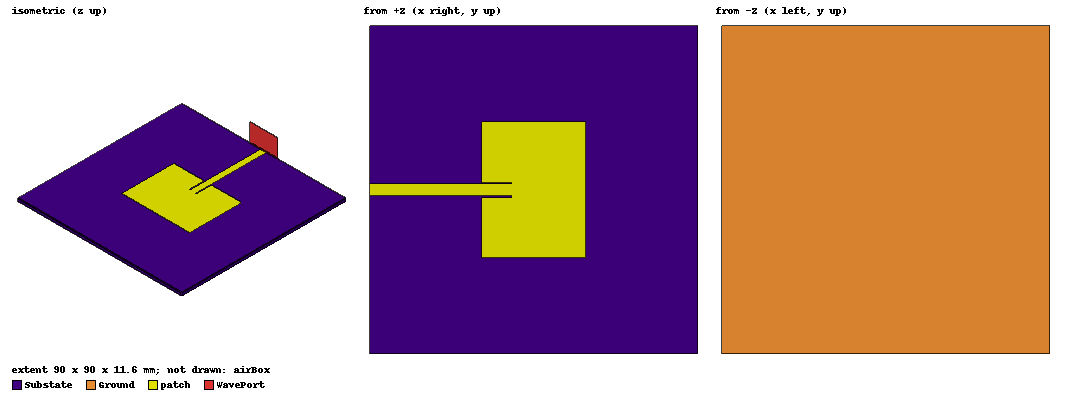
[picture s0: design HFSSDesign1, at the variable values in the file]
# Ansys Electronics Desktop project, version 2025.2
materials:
  vacuum: permittivity=1
  FR4_epoxy: permittivity=4.4 dielectric_loss_tangent=0.02
  air: permittivity=1.0006 permeability=1.0000004

design HFSSDesign1 (HFSS, HFSS Modal Network, model units mm)
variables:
  er = 4.4
  h = 1.6mm
  subX = 90mm
  subY = 90mm
  Wp = 37.3mm
  Lp = 28.67mm
  Wf = 3.1mm
  inset = 8.5mm
  gNotch = 0.5mm
  ov = 0.2mm
  airSide = 20mm
  airTop = 20mm
  airBottom = 5mm
  portAir = 10mm
  portW = Wf+12mm
  portH = h+portAir
  airRight = 20mm
  f0 = 2.45GHz
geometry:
  Substate [FR4_epoxy] = box(corner=(-subX/2, - subY/2, 0mm), size=(subX, subY, h))
  Ground = rectangle(corner=(-subX/2, -subY/2, 0mm), x_size=subX, y_size=subY)
  patch = rectangle(corner=(-Lp/2, -Wp/2, h), x_size=Lp, y_size=Wp)
  Rectangle1 = rectangle(corner=(-Lp/2, -Wf+2*gNotch, h), x_size=inset-ov, y_size=Wf+2*gNotch)
  patch.subtract(Rectangle1)
  feed = rectangle(corner=(-subX/2, -Wf/2, h), x_size=subX/2-Lp/2+inset, y_size=Wf)
  patch.unite(feed)
  airBox [air] = box(corner=(-subX/2, -subY/2-airSide, -airBottom), size=(subX+airRight, subY+2*airSide, h+airTop+airBottom))
  WavePort = rectangle(corner=(-subX/2, -portW/2, 0mm), y_size=portW, z_size=portH)
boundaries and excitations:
  ground: Perfect E Objects=Ground
  patch: Perfect E Objects=patch
  Rad1: Radiation Objects=airBox
  1: Wave Port Objects=WavePort WavePortType=Modal NumModes=1 Modes{Mode1{IntLine{(-45, 0, 1.6) -> (-45, 0, 0)} CharImp=Zpi RenormImp=50ohm}}
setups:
  Setup1: HfssDrivenAuto AutoSolverSetting=Balanced InfiniteSphereSetup=1 Type=Interpolating
    sweep Sweep: 2.2GHz to 2.7GHz, 101 points;
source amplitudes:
  1:1: 1V 0deg
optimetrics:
  ParametricSetup2: Parametric Sim._Setups=[Setup1]
    sweep inset: LIN 7mm 9mm 0.5mm
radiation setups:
  Infinite Sphere1: Infinite Sphere Theta=-180deg..180deg step 5deg Phi=0deg..360deg step 5deg
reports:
  S Parameter Plot1: dB(S(1,1)) vs Freq on Setup1 : Sweep [Lp=28.67mm]; markers m1 at 2.45GHz, MX1 at x=2.45e+09
  S Parameter Plot2: dB(S(1,1)) vs Freq on Setup1 : Sweep [Lp=28.67mm inset=8.5mm]; markers MX1 at x=2.45e+09
  Gain Plot1: dB(GainTotal) vs Phi, Theta on Setup1 : LastAdaptive, Infinite Sphere1
  Gain Plot2: dB(GainTotal) vs Theta on Setup1 : LastAdaptive, Infinite Sphere1 [Phi=0deg Freq=2.45GHz Lp=28.67mm inset=8.5mm]; markers m1 at -5deg, m2 at -30deg, m3 at -60deg, m4 at -40deg, m5 at -50deg, m6 at -45deg, m7 at -55deg, m8 at 20deg, m9 at 30deg, m10 at 35deg, m11 at 40deg, m12 at 45deg, m13 at 25deg, m14 at 50deg, m15 at 15deg, m16 at 15deg
  Gain Plot3: dB(GainTotal) vs Theta on Setup1 : LastAdaptive, Infinite Sphere1 [Phi=90deg Freq=2.45GHz Lp=28.67mm inset=8.5mm]; markers m1 at 0deg, m2 at -30deg, m3 at -40deg, m4 at -35deg, m5 at -45deg, m6 at 25deg, m7 at 20deg, m8 at 40deg, m9 at 45deg, m10 at 35deg
